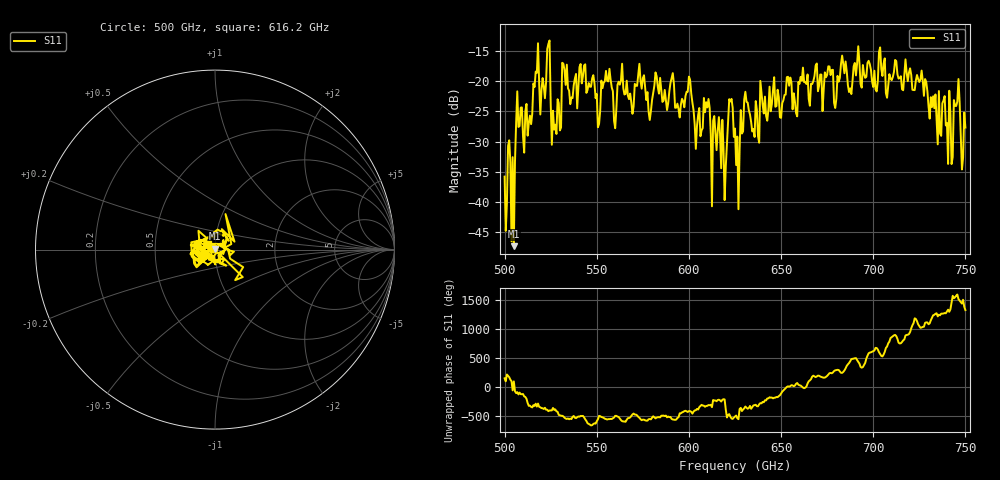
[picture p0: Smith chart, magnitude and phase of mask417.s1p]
!Created with skrf (http://scikit-rf.org).
# GHz S MA R 50.0
!freq magS11 angS11
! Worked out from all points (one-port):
!   401 points, 500 GHz to 750 GHz, reference 50 ohm
!   lowest |S11| = -47.3 dB at 505 GHz (marker M1), VSWR 1.01, Z = 50 + j0.429 ohm
!   |S11| at or under -10 dB: start of sweep to end of sweep
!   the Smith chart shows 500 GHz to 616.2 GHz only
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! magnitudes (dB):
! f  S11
! 500 GHz  -35.8
! 505 GHz  -47.3
! 507.5 GHz  -27.6
! 513.8 GHz  -25.7
! 516.9 GHz  -18.4
! 520.6 GHz  -19.5
! 523.8 GHz  -13.8
! 526.9 GHz  -28.0
! 531.2 GHz  -16.9
! 542.5 GHz  -19.1
! 550.6 GHz  -27.6
! 562.5 GHz  -20.6
! 578.1 GHz  -25.0
! 590.6 GHz  -19.5
! 593.8 GHz  -23.7
! 609.4 GHz  -23.5
! 618.8 GHz  -31.1
! 622.5 GHz  -23.3
! 625 GHz  -27.8
! 626.2 GHz  -29.2
! 631.2 GHz  -23.4
! 634.4 GHz  -28.3
! 656.2 GHz  -24.6
! 680 GHz  -22.9
! 683.8 GHz  -17.1
! 687.5 GHz  -21.2
! 718.8 GHz  -20.0
! 750 GHz  -27.7
